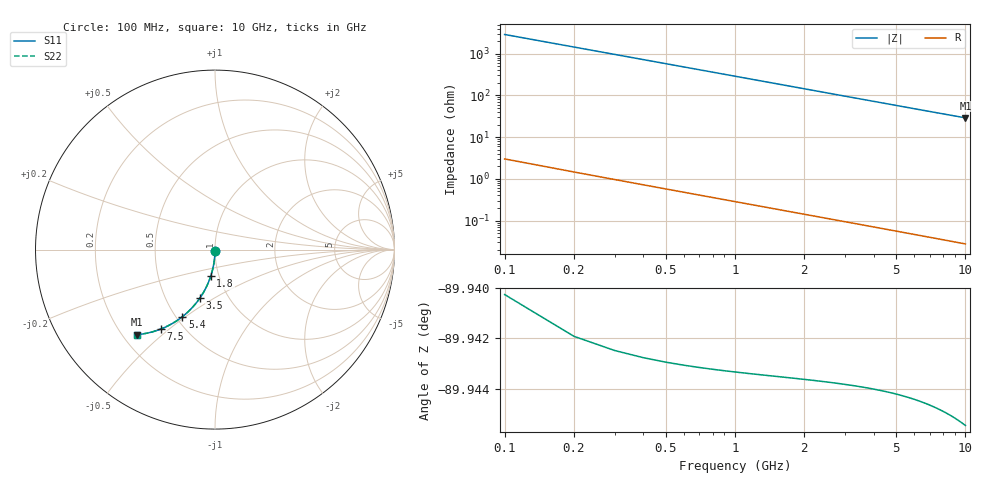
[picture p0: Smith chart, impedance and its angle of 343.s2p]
# Hz S RI R 50.00
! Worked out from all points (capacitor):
!   100 points, 100 MHz to 10 GHz, reference 50 ohm
!   read as one part in shunt: C = 552 fF near 100 MHz
!   lowest |Z| = 29 ohm at 10 GHz (marker M1)
!   S11 on the Smith chart (normalised r, x): 100 MHz: 1.00, -0.02; 1.8 GHz: 0.91, -0.28; 3.5 GHz: 0.74, -0.43; 5.4 GHz: 0.54, -0.49; 7.5 GHz: 0.38, -0.47; 10 GHz: 0.26, -0.41
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1e8  -4.62e-05 -0.00846  0.9999 -0.00887  0.9999 -0.00887  -4.62e-05 -0.00846
2e8  -0.00028 -0.0169  0.9996 -0.0177  0.9996 -0.0177  -0.00028 -0.0169
3e8  -0.000663 -0.0254  0.9993 -0.0266  0.9993 -0.0266  -0.000663 -0.0254
4e8  -0.0012 -0.0338  0.9987 -0.0355  0.9987 -0.0355  -0.0012 -0.0338
5e8  -0.00188 -0.0422  0.998 -0.0443  0.998 -0.0443  -0.00188 -0.0422
6e8  -0.00271 -0.0506  0.9972 -0.0531  0.9972 -0.0531  -0.00271 -0.0506
8e8  -0.00481 -0.0673  0.9951 -0.0707  0.9951 -0.0707  -0.00481 -0.0673
1.1e9  -0.00907 -0.0922  0.9908 -0.0968  0.9908 -0.0968  -0.00907 -0.0922
1.4e9  -0.0146 -0.1167  0.9853 -0.1226  0.9853 -0.1226  -0.0146 -0.1167
1.8e9  -0.0239 -0.1487  0.976 -0.1562  0.976 -0.1562  -0.0239 -0.1487
2.1e9  -0.0323 -0.172  0.9676 -0.1808  0.9676 -0.1808  -0.0323 -0.172
2.5e9  -0.0452 -0.2021  0.9547 -0.2126  0.9547 -0.2126  -0.0452 -0.2021
2.9e9  -0.0599 -0.2308  0.94 -0.243  0.94 -0.243  -0.0599 -0.2308
3.4e9  -0.0806 -0.2646  0.9193 -0.279  0.9193 -0.279  -0.0806 -0.2646
3.5e9  -0.085 -0.2711  0.9148 -0.2859  0.9148 -0.2859  -0.085 -0.2711
4.3e9  -0.1231 -0.3191  0.8766 -0.3373  0.8766 -0.3373  -0.1231 -0.3191
5.1e9  -0.1652 -0.3602  0.8345 -0.3818  0.8345 -0.3818  -0.1652 -0.3602
5.4e9  -0.1817 -0.3738  0.8179 -0.3967  0.8179 -0.3967  -0.1817 -0.3738
6.7e9  -0.2554 -0.4214  0.7441 -0.45  0.7441 -0.45  -0.2554 -0.4214
7.5e9  -0.301 -0.4422  0.6984 -0.4744  0.6984 -0.4744  -0.301 -0.4422
8.4e9  -0.3512 -0.4589  0.648 -0.4951  0.648 -0.4951  -0.3512 -0.4589
1e10  -0.4351 -0.4736  0.5638 -0.5171  0.5638 -0.5171  -0.4351 -0.4736
